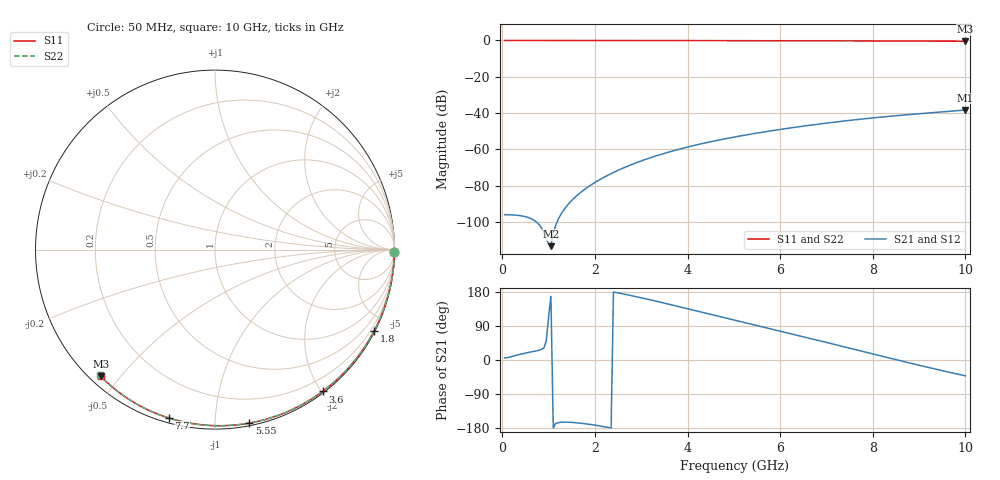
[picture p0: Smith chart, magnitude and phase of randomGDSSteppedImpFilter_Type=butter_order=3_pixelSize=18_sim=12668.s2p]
! freq	dB(S11)	phase(S11)	dB(S12)	phase(S12)
!  dB(S21)	phase(S21)	dB(S22)	phase(S22)
!S-par simulation data
#  GHz  S  DB  R 50
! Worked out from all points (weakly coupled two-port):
!   200 points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, 50 MHz to 10 GHz, reference 50 ohm
!   highest |S21| = -38.30 dB at 10 GHz (marker M1); lowest = -113.3 dB at 1.05 GHz (marker M2)
!   lowest |S11| = -0.4 dB at 10 GHz (marker M3), VSWR 39.66, Z = 1.51 - j22.3 ohm
!   |S11| at or under -10 dB: nowhere
!   |S22| runs from -0.4 to 0.0 dB; largest |S21 - S12| = 0
!   S11 on the Smith chart (normalised r, x): 50 MHz: open; 1.8 GHz: 0.04, -4.17; 3.6 GHz: 0.02, -2.01; 5.55 GHz: 0.02, -1.22; 7.7 GHz: 0.02, -0.76; 10 GHz: 0.03, -0.45
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0.05  -0.00 -0.8  -95.95 5.5  -95.95 5.5  -0.00 -0.8
0.55  -0.01 -8.4  -97.42 19.5  -97.42 19.5  -0.01 -8.4
1.05  -0.02 -15.9  -113.28 167.8  -113.28 167.8  -0.02 -16.0
1.75  -0.03 -26.3  -82.52 -167.7  -82.52 -167.7  -0.03 -26.4
1.8  -0.03 -27.0  -81.57 -168.4  -81.57 -168.4  -0.03 -27.2
1.9  -0.04 -28.5  -79.82 -170.1  -79.82 -170.1  -0.04 -28.7
2.05  -0.04 -30.7  -77.43 -172.9  -77.43 -172.9  -0.04 -30.9
2.25  -0.04 -33.6  -74.60 -177.1  -74.60 -177.1  -0.04 -33.8
2.65  -0.05 -39.4  -69.82 173.4  -69.82 173.4  -0.05 -39.6
3  -0.06 -44.4  -66.34 164.2  -66.34 164.2  -0.06 -44.7
3.4  -0.07 -50.0  -62.93 152.9  -62.93 152.9  -0.07 -50.3
3.6  -0.07 -52.8  -61.41 147.1  -61.41 147.1  -0.07 -53.2
3.9  -0.08 -56.9  -59.33 138.3  -59.33 138.3  -0.08 -57.3
4.3  -0.09 -62.4  -56.87 126.4  -56.87 126.4  -0.09 -62.8
5.05  -0.11 -72.4  -52.99 104.0  -52.99 104.0  -0.11 -72.8
5.55  -0.13 -78.9  -50.79 89.3  -50.79 89.3  -0.13 -79.4
6.1  -0.15 -85.9  -48.62 73.1  -48.62 73.1  -0.15 -86.4
6.7  -0.18 -93.3  -46.49 55.3  -46.49 55.3  -0.18 -93.9
7.7  -0.24 -105.3  -43.44 25.2  -43.44 25.2  -0.24 -105.9
8.35  -0.29 -113.0  -41.79 5.5  -41.79 5.5  -0.29 -113.6
9.15  -0.35 -122.2  -40.03 -18.2  -40.03 -18.2  -0.36 -122.8
10  -0.44 -132.0  -38.30 -41.9  -38.30 -41.9  -0.45 -132.5
